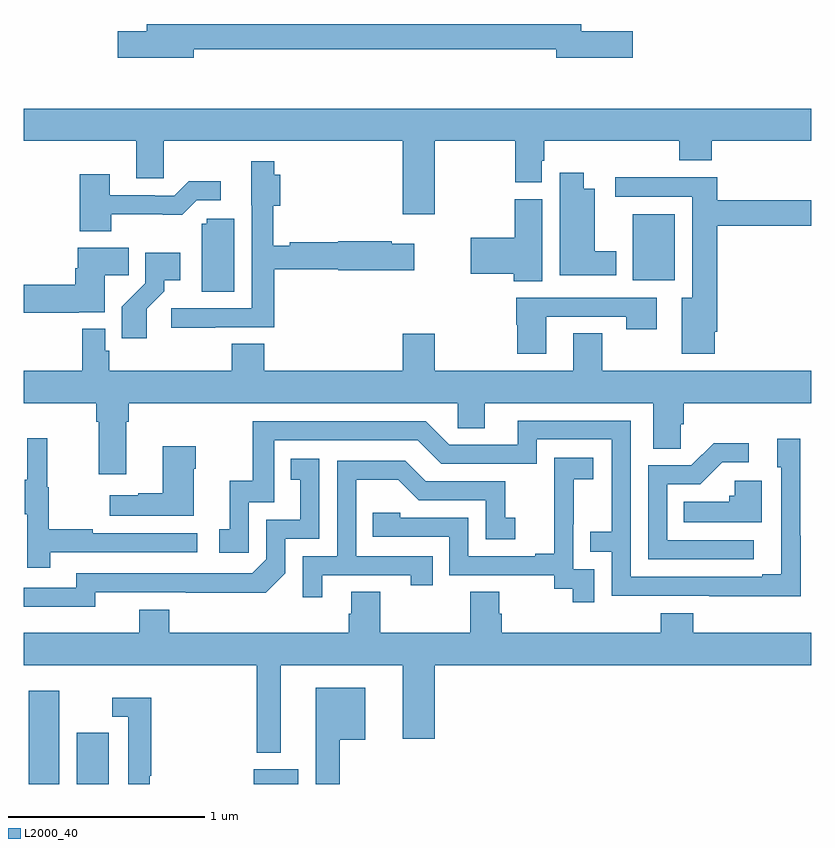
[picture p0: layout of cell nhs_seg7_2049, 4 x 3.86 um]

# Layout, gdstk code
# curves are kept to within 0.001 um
import gdstk
lib = gdstk.Library(unit=1e-6, precision=1e-09)
def R(c, l, rs):  # rectangles x0, y0, x1, y1
    for r in rs: c.add(gdstk.rectangle(r[:2], r[2:], *l))
def P(c, l, *ps):  # polygons
    for p in ps: c.add(gdstk.Polygon(p, *l))
L2000_40 = (2000, 40)

nhs_seg7_2049 = lib.new_cell('nhs_seg7_2049')
R(nhs_seg7_2049, L2000_40, [(247.025,1012,247.18,1012.474), (247.268,1012,247.432,1012.261), (248.168,1012,248.395,1012.075), (250.094,1014.56,250.306,1014.895)])
P(nhs_seg7_2049, L2000_40, [(247.864,1015.734),(249.704,1015.734),(249.704,1015.691),(250.093,1015.691),(250.093,1015.826),(249.832,1015.826),(249.832,1015.862),(247.625,1015.862),(247.625,1015.826),(247.476,1015.826),(247.476,1015.691),(247.864,1015.691)],
  [(249.088,1015.268),(249.496,1015.268),(249.496,1015.057),(249.631,1015.057),(249.631,1015.167),(249.644,1015.167),(249.644,1015.268),(250.331,1015.268),(250.331,1015.169),(250.496,1015.169),(250.496,1015.268),(251,1015.268),(251,1015.432),(247,1015.432),(247,1015.268),(247.571,1015.268),(247.571,1015.078),(247.71,1015.078),(247.71,1015.268),(248.924,1015.268),(248.924,1014.894),(249.088,1014.894)],
  [(247.973,1014.321),(248.273,1014.321),(248.273,1014.616),(248.598,1014.616),(248.598,1014.611),(248.983,1014.611),(248.983,1014.745),(248.87,1014.745),(248.87,1014.758),(248.598,1014.758),(248.598,1014.752),(248.35,1014.752),(248.35,1014.734),(248.266,1014.734),(248.266,1014.938),(248.303,1014.938),(248.303,1015.096),(248.273,1015.096),(248.273,1015.165),(248.156,1015.165),(248.156,1014.942),(248.157,1014.942),(248.157,1014.417),(247.749,1014.417),(247.749,1014.319),(247.973,1014.319)],
  [(250.009,1014.706),(249.901,1014.706),(249.901,1015.024),(249.844,1015.024),(249.844,1015.105),(249.722,1015.105),(249.722,1014.584),(250.009,1014.584)],
  [(247.443,1014.894),(247.805,1014.893),(247.878,1014.966),(247.999,1014.966),(247.999,1015.063),(247.837,1015.063),(247.764,1014.99),(247.664,1014.99),(247.664,1014.993),(247.435,1014.993),(247.435,1015.099),(247.283,1015.099),(247.283,1014.809),(247.443,1014.809)],
  [(250.51,1014.298),(250.523,1014.298),(250.523,1014.838),(251,1014.838),(251,1014.967),(250.523,1014.967),(250.523,1015.082),(250.005,1015.082),(250.005,1014.984),(250.397,1014.984),(250.397,1014.472),(250.343,1014.472),(250.343,1014.186),(250.51,1014.186)],
  [(249.634,1014.972),(249.493,1014.972),(249.493,1014.776),(249.27,1014.776),(249.27,1014.593),(249.488,1014.593),(249.488,1014.556),(249.634,1014.556)],
  [(248.068,1014.873),(247.929,1014.873),(247.929,1014.846),(247.904,1014.846),(247.904,1014.502),(248.068,1014.502)],
  [(247.278,1014.398),(247.411,1014.398),(247.411,1014.586),(247.532,1014.586),(247.532,1014.724),(247.274,1014.724),(247.274,1014.62),(247.262,1014.62),(247.262,1014.536),(247,1014.536),(247,1014.394),(247.278,1014.394)],
  [(247.624,1014.415),(247.714,1014.505),(247.714,1014.56),(247.795,1014.56),(247.795,1014.7),(247.617,1014.7),(247.617,1014.545),(247.498,1014.426),(247.498,1014.264),(247.624,1014.264)],
  [(249.655,1014.375),(250.06,1014.375),(250.06,1014.312),(250.216,1014.312),(250.216,1014.471),(249.503,1014.471),(249.503,1014.333),(249.508,1014.333),(249.508,1014.186),(249.655,1014.186)],
  [(247.519,1013.84),(247.532,1013.84),(247.532,1013.936),(249.204,1013.936),(249.204,1013.809),(249.343,1013.809),(249.343,1013.936),(250.199,1013.936),(250.199,1013.704),(250.338,1013.704),(250.338,1013.827),(250.352,1013.827),(250.352,1013.936),(251,1013.936),(251,1014.1),(249.939,1014.1),(249.939,1014.29),(249.791,1014.29),(249.791,1014.1),(249.088,1014.1),(249.088,1014.289),(248.924,1014.289),(248.924,1014.1),(248.222,1014.1),(248.222,1014.236),(248.057,1014.236),(248.057,1014.1),(247.433,1014.1),(247.433,1014.201),(247.413,1014.201),(247.413,1014.313),(247.297,1014.313),(247.297,1014.1),(247,1014.1),(247,1013.936),(247.367,1013.936),(247.367,1013.84),(247.379,1013.84),(247.379,1013.574),(247.519,1013.574)],
  [(250.947,1013.261),(250.944,1013.261),(250.944,1013.755),(250.829,1013.755),(250.829,1013.61),(250.848,1013.61),(250.848,1013.065),(250.751,1013.065),(250.751,1013.052),(250.083,1013.052),(250.083,1013.847),(249.509,1013.847),(249.509,1013.724),(249.162,1013.724),(249.042,1013.844),(248.163,1013.844),(248.163,1013.542),(248.045,1013.542),(248.045,1013.295),(247.992,1013.295),(247.992,1013.175),(248.142,1013.175),(248.142,1013.433),(248.271,1013.433),(248.271,1013.748),(249,1013.748),(249.12,1013.628),(249.606,1013.628),(249.606,1013.751),(249.987,1013.751),(249.987,1013.282),(249.877,1013.282),(249.877,1013.181),(249.987,1013.181),(249.987,1012.956),(250.947,1012.955)],
  [(247.133,1013.178),(247.882,1013.178),(247.882,1013.274),(247.349,1013.274),(247.349,1013.294),(247.126,1013.294),(247.126,1013.508),(247.118,1013.508),(247.118,1013.758),(247.016,1013.758),(247.016,1013.545),(247.005,1013.545),(247.005,1013.371),(247.016,1013.371),(247.016,1013.1),(247.133,1013.1)],
  [(250.708,1013.238),(250.269,1013.238),(250.269,1013.523),(250.438,1013.523),(250.549,1013.634),(250.684,1013.634),(250.684,1013.732),(250.505,1013.732),(250.392,1013.619),(250.173,1013.619),(250.173,1013.142),(250.708,1013.142)],
  [(247.864,1013.603),(247.872,1013.603),(247.872,1013.716),(247.706,1013.716),(247.706,1013.477),(247.58,1013.477),(247.58,1013.467),(247.437,1013.467),(247.437,1013.363),(247.864,1013.363)],
  [(249.897,1013.091),(249.792,1013.091),(249.792,1013.321),(249.794,1013.321),(249.794,1013.549),(249.892,1013.549),(249.892,1013.659),(249.694,1013.659),(249.694,1013.453),(249.695,1013.453),(249.695,1013.17),(249.599,1013.17),(249.599,1013.157),(249.258,1013.157),(249.258,1013.352),(248.913,1013.352),(248.913,1013.379),(248.773,1013.379),(248.773,1013.256),(249.162,1013.256),(249.162,1013.061),(249.696,1013.061),(249.696,1012.993),(249.789,1012.993),(249.789,1012.923),(249.897,1012.923)],
  [(247.362,1012.974),(248.23,1012.973),(248.328,1013.07),(248.328,1013.247),(248.502,1013.247),(248.502,1013.653),(248.356,1013.653),(248.356,1013.547),(248.405,1013.547),(248.405,1013.343),(248.232,1013.343),(248.232,1013.142),(248.16,1013.07),(247.266,1013.07),(247.266,1012.998),(247,1012.998),(247,1012.901),(247.362,1012.901)],
  [(248.515,1013.061),(248.966,1013.061),(248.966,1013.01),(249.077,1013.01),(249.077,1013.157),(248.688,1013.157),(248.688,1013.546),(248.902,1013.546),(249.006,1013.442),(249.348,1013.442),(249.348,1013.244),(249.496,1013.244),(249.496,1013.353),(249.447,1013.353),(249.447,1013.538),(249.043,1013.538),(248.938,1013.643),(248.592,1013.643),(248.592,1013.157),(248.418,1013.157),(248.418,1012.95),(248.515,1012.95)],
  [(250.75,1013.542),(250.611,1013.542),(250.611,1013.466),(250.585,1013.466),(250.585,1013.434),(250.354,1013.434),(250.354,1013.33),(250.75,1013.33)],
  [(248.305,1012.604),(248.924,1012.604),(248.924,1012.23),(249.088,1012.23),(249.088,1012.604),(251,1012.604),(251,1012.768),(250.4,1012.768),(250.4,1012.867),(250.235,1012.867),(250.235,1012.768),(249.428,1012.768),(249.428,1012.866),(249.415,1012.866),(249.415,1012.976),(249.268,1012.976),(249.268,1012.768),(248.811,1012.768),(248.811,1012.976),(248.663,1012.976),(248.663,1012.866),(248.651,1012.866),(248.651,1012.768),(247.739,1012.768),(247.739,1012.885),(247.586,1012.885),(247.586,1012.768),(247,1012.768),(247,1012.604),(248.184,1012.604),(248.184,1012.16),(248.305,1012.16)],
  [(248.605,1012.226),(248.734,1012.226),(248.734,1012.489),(248.483,1012.489),(248.483,1012),(248.605,1012)],
  [(247.639,1012.043),(247.646,1012.043),(247.646,1012.438),(247.449,1012.438),(247.449,1012.341),(247.53,1012.341),(247.53,1012),(247.639,1012)])

lib.write_gds('nhs_seg7_2049.gds')
